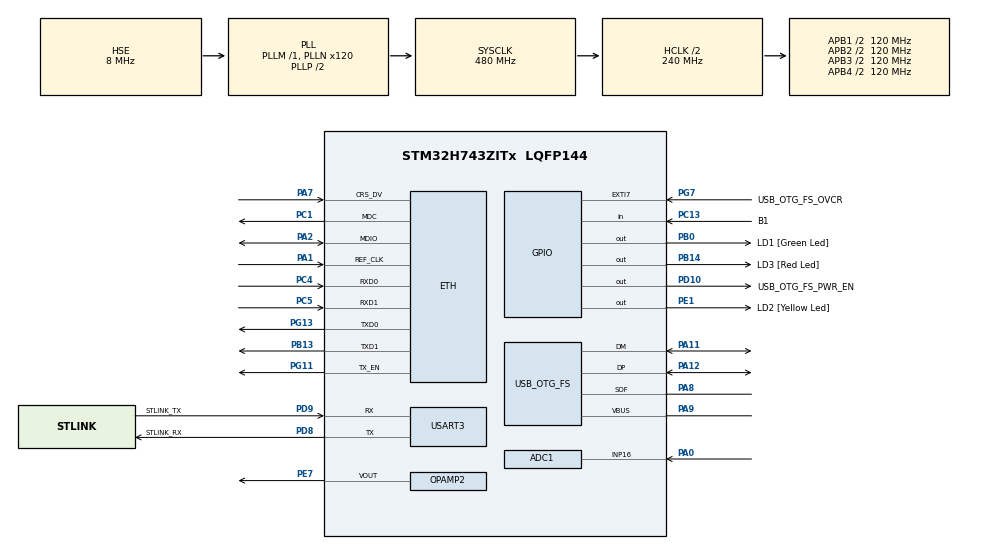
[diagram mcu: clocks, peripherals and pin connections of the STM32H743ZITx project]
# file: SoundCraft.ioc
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ADC1.Channel-1\#ChannelRegularConversion=ADC_CHANNEL_16
ADC1.ClockPrescaler=ADC_CLOCK_ASYNC_DIV2
ADC1.ConversionDataManagement=ADC_CONVERSIONDATA_DMA_CIRCULAR
ADC1.ExternalTrigConv=ADC_EXTERNALTRIG_T3_TRGO
ADC1.NbrOfConversionFlag=1
ADC1.OffsetNumber-1\#ChannelRegularConversion=ADC_OFFSET_NONE
ADC1.OffsetSignedSaturation-1\#ChannelRegularConversion=DISABLE
ADC1.Rank-1\#ChannelRegularConversion=1
ADC1.SamplingTime-1\#ChannelRegularConversion=ADC_SAMPLETIME_1CYCLE_5
ADC1.master=1
DAC1.DAC_Channel-DAC_OUT2_Int=DAC_CHANNEL_2
DAC1.DAC_Trigger-DAC_OUT2_Int=DAC_TRIGGER_NONE
Dma.ADC1.0.Direction=DMA_PERIPH_TO_MEMORY
Dma.ADC1.0.EventEnable=DISABLE
Dma.ADC1.0.FIFOMode=DMA_FIFOMODE_DISABLE
Dma.ADC1.0.Instance=DMA1_Stream1
Dma.ADC1.0.MemDataAlignment=DMA_MDATAALIGN_HALFWORD
Dma.ADC1.0.MemInc=DMA_MINC_ENABLE
Dma.ADC1.0.Mode=DMA_CIRCULAR
Dma.ADC1.0.PeriphDataAlignment=DMA_PDATAALIGN_HALFWORD
Dma.ADC1.0.PeriphInc=DMA_PINC_DISABLE
Dma.ADC1.0.Polarity=HAL_DMAMUX_REQ_GEN_RISING
Dma.ADC1.0.Priority=DMA_PRIORITY_LOW
Dma.ADC1.0.RequestNumber=1
Dma.ADC1.0.SignalID=NONE
Dma.ADC1.0.SyncEnable=DISABLE
Dma.ADC1.0.SyncPolarity=HAL_DMAMUX_SYNC_NO_EVENT
Dma.ADC1.0.SyncRequestNumber=1
Dma.ADC1.0.SyncSignalID=NONE
Dma.Request0=ADC1
ETH.MediaInterface=HAL_ETH_RMII_MODE
Mcu.Family=STM32H7
Mcu.Name=STM32H743ZITx
Mcu.Package=LQFP144
NVIC.ADC_IRQn=true\:0\:0\:false\:false\:true\:true\:true\:true
NVIC.DMA1_Stream1_IRQn=true\:0\:0\:false\:false\:true\:false\:true\:true
NVIC.PriorityGroup=NVIC_PRIORITYGROUP_4
OPAMP2.PowerMode=OPAMP_POWERMODE_HIGHSPEED
PA0.Mode=IN16-Single-Ended
PA0.Signal=ADC1_INP16
PA1.Mode=RMII
PA1.Signal=ETH_REF_CLK
PA11.Mode=Device_Only
PA11.Signal=USB_OTG_FS_DM
PA12.Mode=Device_Only
PA12.Signal=USB_OTG_FS_DP
PA2.Mode=RMII
PA2.Signal=ETH_MDIO
PA7.Mode=RMII
PA7.Signal=ETH_CRS_DV
PA8.Mode=Activate_SOF_FS
PA8.Signal=USB_OTG_FS_SOF
PA9.Mode=Activate_VBUS
PA9.Signal=USB_OTG_FS_VBUS
PB0.GPIO_Label=LD1 [Green Led]
PB0.Signal=GPIO_Output
PB13.Mode=RMII
PB13.Signal=ETH_TXD1
PB14.GPIO_Label=LD3 [Red Led]
PB14.Signal=GPIO_Output
PC1.Mode=RMII
PC1.Signal=ETH_MDC
PC13.GPIO_Label=B1
PC13.Signal=GPIO_Input
PC14-OSC32_IN\ (OSC32_IN).Mode=LSE-External-Oscillator
PC14-OSC32_IN\ (OSC32_IN).Signal=RCC_OSC32_IN
PC15-OSC32_OUT\ (OSC32_OUT).Mode=LSE-External-Oscillator
PC15-OSC32_OUT\ (OSC32_OUT).Signal=RCC_OSC32_OUT
PC4.Mode=RMII
PC4.Signal=ETH_RXD0
PC5.Mode=RMII
PC5.Signal=ETH_RXD1
PD10.GPIO_Label=USB_OTG_FS_PWR_EN
PD10.Signal=GPIO_Output
PD8.GPIO_Label=STLINK_RX
PD8.Mode=Asynchronous
PD8.Signal=USART3_TX
PD9.GPIO_Label=STLINK_TX
PD9.Mode=Asynchronous
PD9.Signal=USART3_RX
PE1.GPIO_Label=LD2 [Yellow Led]
PE1.Signal=GPIO_Output
PE7.Mode=Follower-DAC_OUT2-INP
PE7.Signal=OPAMP2_VOUT
PG11.Mode=RMII
PG11.Signal=ETH_TX_EN
PG13.Mode=RMII
PG13.Signal=ETH_TXD0
PG7.GPIO_Label=USB_OTG_FS_OVCR
PG7.Signal=GPXTI7
PH0-OSC_IN\ (PH0).Mode=HSE-External-Clock-Source
PH0-OSC_IN\ (PH0).Signal=RCC_OSC_IN
PH1-OSC_OUT\ (PH1).Signal=RCC_OSC_OUT
ProjectManager.HeapSize=0x200
ProjectManager.StackSize=0x400
ProjectManager.TargetToolchain=STM32CubeIDE
RCC.ADCFreq_Value=75000000
RCC.APB1Freq_Value=120000000
RCC.APB2Freq_Value=120000000
RCC.APB3Freq_Value=120000000
RCC.APB4Freq_Value=120000000
RCC.CortexFreq_Value=480000000
RCC.D1PPRE=RCC_APB3_DIV2
RCC.D2PPRE1=RCC_APB1_DIV2
RCC.D2PPRE2=RCC_APB2_DIV2
RCC.D3PPRE=RCC_APB4_DIV2
RCC.DIVM1=1
RCC.DIVM2=1
RCC.DIVN1=120
RCC.DIVN2=18
RCC.DIVQ1=15
RCC.HCLKFreq_Value=240000000
RCC.HPRE=RCC_HCLK_DIV2
RCC.HSE_VALUE=8000000
RCC.PLL2FRACN=6144
RCC.PLL3FRACN=0
RCC.PLLFRACN=0
RCC.PWR_Regulator_Voltage_Scale=PWR_REGULATOR_VOLTAGE_SCALE0
RCC.SYSCLKFreq_VALUE=480000000
RCC.SYSCLKSource=RCC_SYSCLKSOURCE_PLLCLK
RCC.USBFreq_Value=64000000
TIM3.Period=4999
TIM3.TIM_MasterOutputTrigger=TIM_TRGO_UPDATE
TIM6.Period=4999
TIM6.TIM_MasterOutputTrigger=TIM_TRGO_UPDATE
USART3.VirtualMode-Asynchronous=VM_ASYNC
USB_OTG_FS.VirtualMode=Device_Only
VP_DAC1_VS_DACI2.Mode=DAC_OUT2_Int
VP_TIM3_VS_ClockSourceINT.Mode=Internal
VP_TIM6_VS_ClockSourceINT.Mode=Enable_Timer
board=NUCLEO-H743ZI2

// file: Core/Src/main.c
/* USER CODE BEGIN Header */
/**
  ******************************************************************************
  * @file           : main.c
  * @brief          : Main program body
  ******************************************************************************
  * @attention
  *
  * Copyright (c) 2025 STMicroelectronics.
  * All rights reserved.
  *
  * This software is licensed under terms that can be found in the LICENSE file
  * in the root directory of this software component.
  * If no LICENSE file comes with this software, it is provided AS-IS.
  *
  ******************************************************************************
  */
/* USER CODE END Header */
#include "main.h"
#include "string.h"
#include <math.h>
#include <stdlib.h>

/* USER CODE BEGIN PD */
#define BUF_LEN 4096
/* USER CODE END PD */

#if defined ( __ICCARM__ ) /*!< IAR Compiler */
#pragma location=0x30000000
ETH_DMADescTypeDef  DMARxDscrTab[ETH_RX_DESC_CNT]; /* Ethernet Rx DMA Descriptors */
#pragma location=0x30000200
ETH_DMADescTypeDef  DMATxDscrTab[ETH_TX_DESC_CNT]; /* Ethernet Tx DMA Descriptors */

#elif defined ( __CC_ARM )  /* MDK ARM Compiler */

__attribute__((at(0x30000000))) ETH_DMADescTypeDef  DMARxDscrTab[ETH_RX_DESC_CNT]; /* Ethernet Rx DMA Descriptors */
__attribute__((at(0x30000200))) ETH_DMADescTypeDef  DMATxDscrTab[ETH_TX_DESC_CNT]; /* Ethernet Tx DMA Descriptors */

#elif defined ( __GNUC__ ) /* GNU Compiler */

ETH_DMADescTypeDef DMARxDscrTab[ETH_RX_DESC_CNT] __attribute__((section(".RxDecripSection"))); /* Ethernet Rx DMA Descriptors */
ETH_DMADescTypeDef DMATxDscrTab[ETH_TX_DESC_CNT] __attribute__((section(".TxDecripSection")));   /* Ethernet Tx DMA Descriptors */
#endif

ETH_TxPacketConfig TxConfig;

ADC_HandleTypeDef hadc1;
DMA_HandleTypeDef hdma_adc1;

DAC_HandleTypeDef hdac1;

ETH_HandleTypeDef heth;

OPAMP_HandleTypeDef hopamp2;

TIM_HandleTypeDef htim3;
TIM_HandleTypeDef htim6;

UART_HandleTypeDef huart3;

PCD_HandleTypeDef hpcd_USB_OTG_FS;

/* USER CODE BEGIN PV */
uint32_t dac_buf[BUF_LEN];
uint16_t adc_buf[BUF_LEN];

uint16_t adc_val;
uint32_t dac_val;
uint16_t fill_stat = 0;

uint16_t state = 0;
/* USER CODE END PV */

void SystemClock_Config(void);
static void MX_GPIO_Init(void);
static void MX_DMA_Init(void);
static void MX_USART3_UART_Init(void);
static void MX_USB_OTG_FS_PCD_Init(void);
static void MX_DAC1_Init(void);
static void MX_TIM6_Init(void);
static void MX_ETH_Init(void);
static void MX_OPAMP2_Init(void);
static void MX_ADC1_Init(void);
static void MX_TIM3_Init(void);

int main(void)
{

  /* MCU Configuration--------------------------------------------------------*/

  /* Reset of all peripherals, Initializes the Flash interface and the Systick. */
  HAL_Init();

  /* Configure the system clock */
  SystemClock_Config();

  /* Initialize all configured peripherals */
  MX_GPIO_Init();
  MX_DMA_Init();
  MX_USART3_UART_Init();
  MX_USB_OTG_FS_PCD_Init();
  MX_DAC1_Init();
  MX_TIM6_Init();
  MX_ETH_Init();
  MX_OPAMP2_Init();
  MX_ADC1_Init();
  MX_TIM3_Init();
  /* USER CODE BEGIN 2 */

  uint32_t signal_frequency = 480; // 440Hz
  uint32_t output_frequency = 48000; // 48KHz

  for (int i = 0; i < BUF_LEN; i++) {
	  dac_buf[i] = 2048 + 2047 * sin(2 * M_PI * signal_frequency / output_frequency * i);
  }

  HAL_OPAMP_Start(&hopamp2);
//  HAL_TIM_Base_Start(&htim6);
  HAL_DAC_Start(&hdac1, DAC_CHANNEL_2);
//  HAL_DAC_Start_DMA(&hdac1, DAC_CHANNEL_2, (uint32_t*)dac_buf, BUF_LEN, DAC_ALIGN_12B_R);
  HAL_TIM_Base_Start(&htim3);
//  HAL_ADC_Start_DMA(&hadc1, (uint32_t*)adc_buf, BUF_LEN);

  HAL_ADC_Start_DMA(&hadc1,(uint32_t*)&adc_val, 1);

  /* USER CODE END 2 */

  /* Infinite loop */
  while (1)
  {

  }
}

void SystemClock_Config(void)
{
  RCC_OscInitTypeDef RCC_OscInitStruct = {0};
  RCC_ClkInitTypeDef RCC_ClkInitStruct = {0};

  /** Supply configuration update enable
  */
  HAL_PWREx_ConfigSupply(PWR_LDO_SUPPLY);

  /** Configure the main internal regulator output voltage
  */
  __HAL_PWR_VOLTAGESCALING_CONFIG(PWR_REGULATOR_VOLTAGE_SCALE1);

  while(!__HAL_PWR_GET_FLAG(PWR_FLAG_VOSRDY)) {}

  __HAL_RCC_SYSCFG_CLK_ENABLE();
  __HAL_PWR_VOLTAGESCALING_CONFIG(PWR_REGULATOR_VOLTAGE_SCALE0);

  while(!__HAL_PWR_GET_FLAG(PWR_FLAG_VOSRDY)) {}

  /** Initializes the RCC Oscillators according to the specified parameters
  * in the RCC_OscInitTypeDef structure.
  */
  RCC_OscInitStruct.OscillatorType = RCC_OSCILLATORTYPE_HSE;
  RCC_OscInitStruct.HSEState = RCC_HSE_BYPASS;
  RCC_OscInitStruct.PLL.PLLState = RCC_PLL_ON;
  RCC_OscInitStruct.PLL.PLLSource = RCC_PLLSOURCE_HSE;
  RCC_OscInitStruct.PLL.PLLM = 1;
  RCC_OscInitStruct.PLL.PLLN = 120;
  RCC_OscInitStruct.PLL.PLLP = 2;
  RCC_OscInitStruct.PLL.PLLQ = 15;
  RCC_OscInitStruct.PLL.PLLR = 2;
  RCC_OscInitStruct.PLL.PLLRGE = RCC_PLL1VCIRANGE_3;
  RCC_OscInitStruct.PLL.PLLVCOSEL = RCC_PLL1VCOWIDE;
  RCC_OscInitStruct.PLL.PLLFRACN = 0;
  if (HAL_RCC_OscConfig(&RCC_OscInitStruct) != HAL_OK)
  {
    Error_Handler();
  }

  /** Initializes the CPU, AHB and APB buses clocks
  */
  RCC_ClkInitStruct.ClockType = RCC_CLOCKTYPE_HCLK|RCC_CLOCKTYPE_SYSCLK
                              |RCC_CLOCKTYPE_PCLK1|RCC_CLOCKTYPE_PCLK2
                              |RCC_CLOCKTYPE_D3PCLK1|RCC_CLOCKTYPE_D1PCLK1;
  RCC_ClkInitStruct.SYSCLKSource = RCC_SYSCLKSOURCE_PLLCLK;
  RCC_ClkInitStruct.SYSCLKDivider = RCC_SYSCLK_DIV1;
  RCC_ClkInitStruct.AHBCLKDivider = RCC_HCLK_DIV2;
  RCC_ClkInitStruct.APB3CLKDivider = RCC_APB3_DIV2;
  RCC_ClkInitStruct.APB1CLKDivider = RCC_APB1_DIV2;
  RCC_ClkInitStruct.APB2CLKDivider = RCC_APB2_DIV2;
  RCC_ClkInitStruct.APB4CLKDivider = RCC_APB4_DIV2;

  if (HAL_RCC_ClockConfig(&RCC_ClkInitStruct, FLASH_LATENCY_4) != HAL_OK)
  {
    Error_Handler();
  }
}

static void MX_ADC1_Init(void)
{

  ADC_MultiModeTypeDef multimode = {0};
  ADC_ChannelConfTypeDef sConfig = {0};

  /** Common config
  */
  hadc1.Instance = ADC1;
  hadc1.Init.ClockPrescaler = ADC_CLOCK_ASYNC_DIV2;
  hadc1.Init.Resolution = ADC_RESOLUTION_16B;
  hadc1.Init.ScanConvMode = ADC_SCAN_DISABLE;
  hadc1.Init.EOCSelection = ADC_EOC_SINGLE_CONV;
  hadc1.Init.LowPowerAutoWait = DISABLE;
  hadc1.Init.ContinuousConvMode = DISABLE;
  hadc1.Init.NbrOfConversion = 1;
  hadc1.Init.DiscontinuousConvMode = DISABLE;
  hadc1.Init.ExternalTrigConv = ADC_EXTERNALTRIG_T3_TRGO;
  hadc1.Init.ExternalTrigConvEdge = ADC_EXTERNALTRIGCONVEDGE_RISING;
  hadc1.Init.ConversionDataManagement = ADC_CONVERSIONDATA_DMA_CIRCULAR;
  hadc1.Init.Overrun = ADC_OVR_DATA_PRESERVED;
  hadc1.Init.LeftBitShift = ADC_LEFTBITSHIFT_NONE;
  hadc1.Init.OversamplingMode = DISABLE;
  if (HAL_ADC_Init(&hadc1) != HAL_OK)
  {
    Error_Handler();
  }

  /** Configure the ADC multi-mode
  */
  multimode.Mode = ADC_MODE_INDEPENDENT;
  if (HAL_ADCEx_MultiModeConfigChannel(&hadc1, &multimode) != HAL_OK)
  {
    Error_Handler();
  }

  /** Configure Regular Channel
  */
  sConfig.Channel = ADC_CHANNEL_16;
  sConfig.Rank = ADC_REGULAR_RANK_1;
  sConfig.SamplingTime = ADC_SAMPLETIME_1CYCLE_5;
  sConfig.SingleDiff = ADC_SINGLE_ENDED;
  sConfig.OffsetNumber = ADC_OFFSET_NONE;
  sConfig.Offset = 0;
  sConfig.OffsetSignedSaturation = DISABLE;
  if (HAL_ADC_ConfigChannel(&hadc1, &sConfig) != HAL_OK)
  {
    Error_Handler();
  }

}

static void MX_DAC1_Init(void)
{

  DAC_ChannelConfTypeDef sConfig = {0};

  /** DAC Initialization
  */
  hdac1.Instance = DAC1;
  if (HAL_DAC_Init(&hdac1) != HAL_OK)
  {
    Error_Handler();
  }

  /** DAC channel OUT2 config
  */
  sConfig.DAC_SampleAndHold = DAC_SAMPLEANDHOLD_DISABLE;
  sConfig.DAC_Trigger = DAC_TRIGGER_NONE;
  sConfig.DAC_OutputBuffer = DAC_OUTPUTBUFFER_DISABLE;
  sConfig.DAC_ConnectOnChipPeripheral = DAC_CHIPCONNECT_ENABLE;
  sConfig.DAC_UserTrimming = DAC_TRIMMING_FACTORY;
  if (HAL_DAC_ConfigChannel(&hdac1, &sConfig, DAC_CHANNEL_2) != HAL_OK)
  {
    Error_Handler();
  }

}

static void MX_ETH_Init(void)
{

   static uint8_t MACAddr[6];

  heth.Instance = ETH;
  MACAddr[0] = 0x00;
  MACAddr[1] = 0x80;
  MACAddr[2] = 0xE1;
  MACAddr[3] = 0x00;
  MACAddr[4] = 0x00;
  MACAddr[5] = 0x00;
  heth.Init.MACAddr = &MACAddr[0];
  heth.Init.MediaInterface = HAL_ETH_RMII_MODE;
  heth.Init.TxDesc = DMATxDscrTab;
  heth.Init.RxDesc = DMARxDscrTab;
  heth.Init.RxBuffLen = 1524;

  if (HAL_ETH_Init(&heth) != HAL_OK)
  {
    Error_Handler();
  }

  memset(&TxConfig, 0 , sizeof(ETH_TxPacketConfig));
  TxConfig.Attributes = ETH_TX_PACKETS_FEATURES_CSUM | ETH_TX_PACKETS_FEATURES_CRCPAD;
  TxConfig.ChecksumCtrl = ETH_CHECKSUM_IPHDR_PAYLOAD_INSERT_PHDR_CALC;
  TxConfig.CRCPadCtrl = ETH_CRC_PAD_INSERT;

}

static void MX_OPAMP2_Init(void)
{

  hopamp2.Instance = OPAMP2;
  hopamp2.Init.Mode = OPAMP_FOLLOWER_MODE;
  hopamp2.Init.NonInvertingInput = OPAMP_NONINVERTINGINPUT_DAC_CH;
  hopamp2.Init.PowerMode = OPAMP_POWERMODE_HIGHSPEED;
  hopamp2.Init.UserTrimming = OPAMP_TRIMMING_FACTORY;
  if (HAL_OPAMP_Init(&hopamp2) != HAL_OK)
  {
    Error_Handler();
  }

}

static void MX_TIM3_Init(void)
{

  TIM_ClockConfigTypeDef sClockSourceConfig = {0};
  TIM_MasterConfigTypeDef sMasterConfig = {0};

  htim3.Instance = TIM3;
  htim3.Init.Prescaler = 0;
  htim3.Init.CounterMode = TIM_COUNTERMODE_UP;
  htim3.Init.Period = 4999;
  htim3.Init.ClockDivision = TIM_CLOCKDIVISION_DIV1;
  htim3.Init.AutoReloadPreload = TIM_AUTORELOAD_PRELOAD_DISABLE;
  if (HAL_TIM_Base_Init(&htim3) != HAL_OK)
  {
    Error_Handler();
  }
  sClockSourceConfig.ClockSource = TIM_CLOCKSOURCE_INTERNAL;
  if (HAL_TIM_ConfigClockSource(&htim3, &sClockSourceConfig) != HAL_OK)
  {
    Error_Handler();
  }
  sMasterConfig.MasterOutputTrigger = TIM_TRGO_UPDATE;
  sMasterConfig.MasterSlaveMode = TIM_MASTERSLAVEMODE_DISABLE;
  if (HAL_TIMEx_MasterConfigSynchronization(&htim3, &sMasterConfig) != HAL_OK)
  {
    Error_Handler();
  }

}

static void MX_TIM6_Init(void)
{

  TIM_MasterConfigTypeDef sMasterConfig = {0};

  htim6.Instance = TIM6;
  htim6.Init.Prescaler = 0;
  htim6.Init.CounterMode = TIM_COUNTERMODE_UP;
  htim6.Init.Period = 4999;
  htim6.Init.AutoReloadPreload = TIM_AUTORELOAD_PRELOAD_DISABLE;
  if (HAL_TIM_Base_Init(&htim6) != HAL_OK)
  {
    Error_Handler();
  }
  sMasterConfig.MasterOutputTrigger = TIM_TRGO_UPDATE;
  sMasterConfig.MasterSlaveMode = TIM_MASTERSLAVEMODE_DISABLE;
  if (HAL_TIMEx_MasterConfigSynchronization(&htim6, &sMasterConfig) != HAL_OK)
  {
    Error_Handler();
  }

}

static void MX_USART3_UART_Init(void)
{

  huart3.Instance = USART3;
  huart3.Init.BaudRate = 115200;
  huart3.Init.WordLength = UART_WORDLENGTH_8B;
  huart3.Init.StopBits = UART_STOPBITS_1;
  huart3.Init.Parity = UART_PARITY_NONE;
  huart3.Init.Mode = UART_MODE_TX_RX;
  huart3.Init.HwFlowCtl = UART_HWCONTROL_NONE;
  huart3.Init.OverSampling = UART_OVERSAMPLING_16;
  huart3.Init.OneBitSampling = UART_ONE_BIT_SAMPLE_DISABLE;
  huart3.Init.ClockPrescaler = UART_PRESCALER_DIV1;
  huart3.AdvancedInit.AdvFeatureInit = UART_ADVFEATURE_NO_INIT;
  if (HAL_UART_Init(&huart3) != HAL_OK)
  {
    Error_Handler();
  }
  if (HAL_UARTEx_SetTxFifoThreshold(&huart3, UART_TXFIFO_THRESHOLD_1_8) != HAL_OK)
  {
    Error_Handler();
  }
  if (HAL_UARTEx_SetRxFifoThreshold(&huart3, UART_RXFIFO_THRESHOLD_1_8) != HAL_OK)
  {
    Error_Handler();
  }
  if (HAL_UARTEx_DisableFifoMode(&huart3) != HAL_OK)
  {
    Error_Handler();
  }

}

static void MX_USB_OTG_FS_PCD_Init(void)
{

  hpcd_USB_OTG_FS.Instance = USB_OTG_FS;
  hpcd_USB_OTG_FS.Init.dev_endpoints = 9;
  hpcd_USB_OTG_FS.Init.speed = PCD_SPEED_FULL;
  hpcd_USB_OTG_FS.Init.dma_enable = DISABLE;
  hpcd_USB_OTG_FS.Init.phy_itface = PCD_PHY_EMBEDDED;
  hpcd_USB_OTG_FS.Init.Sof_enable = ENABLE;
  hpcd_USB_OTG_FS.Init.low_power_enable = DISABLE;
  hpcd_USB_OTG_FS.Init.lpm_enable = DISABLE;
  hpcd_USB_OTG_FS.Init.battery_charging_enable = ENABLE;
  hpcd_USB_OTG_FS.Init.vbus_sensing_enable = ENABLE;
  hpcd_USB_OTG_FS.Init.use_dedicated_ep1 = DISABLE;
  if (HAL_PCD_Init(&hpcd_USB_OTG_FS) != HAL_OK)
  {
    Error_Handler();
  }

}

static void MX_DMA_Init(void)
{

  /* DMA controller clock enable */
  __HAL_RCC_DMA1_CLK_ENABLE();

  /* DMA interrupt init */
  /* DMA1_Stream1_IRQn interrupt configuration */
  HAL_NVIC_SetPriority(DMA1_Stream1_IRQn, 0, 0);
  HAL_NVIC_EnableIRQ(DMA1_Stream1_IRQn);

}

static void MX_GPIO_Init(void)
{
  GPIO_InitTypeDef GPIO_InitStruct = {0};

  /* GPIO Ports Clock Enable */
  __HAL_RCC_GPIOC_CLK_ENABLE();
  __HAL_RCC_GPIOH_CLK_ENABLE();
  __HAL_RCC_GPIOA_CLK_ENABLE();
  __HAL_RCC_GPIOB_CLK_ENABLE();
  __HAL_RCC_GPIOE_CLK_ENABLE();
  __HAL_RCC_GPIOD_CLK_ENABLE();
  __HAL_RCC_GPIOG_CLK_ENABLE();

  /*Configure GPIO pin Output Level */
  HAL_GPIO_WritePin(GPIOB, LD1_Pin|LD3_Pin, GPIO_PIN_RESET);

  /*Configure GPIO pin Output Level */
  HAL_GPIO_WritePin(USB_OTG_FS_PWR_EN_GPIO_Port, USB_OTG_FS_PWR_EN_Pin, GPIO_PIN_RESET);

  /*Configure GPIO pin Output Level */
  HAL_GPIO_WritePin(LD2_GPIO_Port, LD2_Pin, GPIO_PIN_RESET);

  /*Configure GPIO pin : B1_Pin */
  GPIO_InitStruct.Pin = B1_Pin;
  GPIO_InitStruct.Mode = GPIO_MODE_INPUT;
  GPIO_InitStruct.Pull = GPIO_NOPULL;
  HAL_GPIO_Init(B1_GPIO_Port, &GPIO_InitStruct);

  /*Configure GPIO pins : LD1_Pin LD3_Pin */
  GPIO_InitStruct.Pin = LD1_Pin|LD3_Pin;
  GPIO_InitStruct.Mode = GPIO_MODE_OUTPUT_PP;
  GPIO_InitStruct.Pull = GPIO_NOPULL;
  GPIO_InitStruct.Speed = GPIO_SPEED_FREQ_LOW;
  HAL_GPIO_Init(GPIOB, &GPIO_InitStruct);

  /*Configure GPIO pin : USB_OTG_FS_PWR_EN_Pin */
  GPIO_InitStruct.Pin = USB_OTG_FS_PWR_EN_Pin;
  GPIO_InitStruct.Mode = GPIO_MODE_OUTPUT_PP;
  GPIO_InitStruct.Pull = GPIO_NOPULL;
  GPIO_InitStruct.Speed = GPIO_SPEED_FREQ_LOW;
  HAL_GPIO_Init(USB_OTG_FS_PWR_EN_GPIO_Port, &GPIO_InitStruct);

  /*Configure GPIO pin : USB_OTG_FS_OVCR_Pin */
  GPIO_InitStruct.Pin = USB_OTG_FS_OVCR_Pin;
  GPIO_InitStruct.Mode = GPIO_MODE_IT_RISING;
  GPIO_InitStruct.Pull = GPIO_NOPULL;
  HAL_GPIO_Init(USB_OTG_FS_OVCR_GPIO_Port, &GPIO_InitStruct);

  /*Configure GPIO pin : LD2_Pin */
  GPIO_InitStruct.Pin = LD2_Pin;
  GPIO_InitStruct.Mode = GPIO_MODE_OUTPUT_PP;
  GPIO_InitStruct.Pull = GPIO_NOPULL;
  GPIO_InitStruct.Speed = GPIO_SPEED_FREQ_LOW;
  HAL_GPIO_Init(LD2_GPIO_Port, &GPIO_InitStruct);

}

/* USER CODE BEGIN 4 */

#define ADC_MAX 65535
#define DAC_MAX 4096
#define SAMPLE_RATE 48000

#define BUFFER_SIZE 1000

int t_count = 0; // for tremolo

uint16_t buffer[BUFFER_SIZE] = {0};
int read_pointer = 0, write_pointer = 0, opp_pointer;
float float_read_pointer = 0.0;
float pitch_factor = 1.2;

#define MAX_DELAY_SAMPLES SAMPLE_RATE  // Maximum delay (1-second delay)
int16_t delay_buffer[MAX_DELAY_SAMPLES] = {0};  // Static delay buffer to avoid dynamic allocation
uint32_t delay_index = 0;
float echo_factor = 0.3;

// Function to apply distortion to the audio samples
void distort(uint16_t *input, uint32_t bound) {

    if (*input > (ADC_MAX/2 + bound)) {
        *input = ADC_MAX/2 + bound;
    } else if (*input < (ADC_MAX/2 - bound)) {
        *input = ADC_MAX/2 - bound;
    }

}

// Function to apply tremolo effect
void tremolo(uint16_t *input, int index, float depth, float mod_freq) {

    *input *= ((1-depth) + depth * sin(2 * M_PI * mod_freq * index / SAMPLE_RATE));

}

// Function to apply pitch shifting
void pitch_shift(uint16_t *input, float pitch_factor) {

	buffer[write_pointer] = *input;
	write_pointer = (write_pointer + 1) % BUFFER_SIZE;

    float_read_pointer += pitch_factor;
    if (float_read_pointer > BUFFER_SIZE) {
        float_read_pointer -= BUFFER_SIZE;
    }

    read_pointer = ((int)float_read_pointer) % BUFFER_SIZE;
    opp_pointer = (read_pointer + (BUFFER_SIZE / 2)) % BUFFER_SIZE;

    if (abs(read_pointer - write_pointer) < pitch_factor) {
        read_pointer = opp_pointer;
        float_read_pointer = (float)opp_pointer;
    }

    *input = buffer[read_pointer];

}

// Function to apply an echo effect without dynamic allocation or double casting
void echo(uint16_t *input, float feedback) {

	// Multiply the previous delayed sample by the feedback factor in fixed-point (Q15 format)
	int16_t delayed_sample = (delay_buffer[delay_index] / 2);

	*input = *input;

	// Store the current input sample into the delay buffer
	delay_buffer[delay_index] = *input;

	// Add the delayed sample to the current input, with feedback
	*input += delayed_sample;

	// Update the delay buffer index (circular buffer)
	delay_index = (delay_index + 1) % SAMPLE_RATE;  // Wrap around every 1 second (SAMPLE_RATE samples)
}

// Called when buffer is completely filled
void HAL_ADC_ConvCpltCallback(ADC_HandleTypeDef* hadc) {

//	if (HAL_GPIO_ReadPin(B1_GPIO_Port, B1_Pin)) {
//		state = 1;
//	}
//
//	else {
//		state = 0;
//	}

    if (state == 1)
    {
        distort(&adc_val, 0.15*ADC_MAX); // [0, 0.5*ADC_MAX] larger bound means less distortion
    }

    else if (state == 2)
    {
        tremolo(&adc_val, t_count, 0.5, 5); // [0, 1] depth, [0, 10] mod_freq
        t_count++;
    }

    // Apply pitch shifting if enabled
    else if (state == 3)
    {
        pitch_shift(&adc_val, pitch_factor);
    }

    // echo
    else if (state == 4)
    {
    	echo(&adc_val, echo_factor);
    }

    dac_val = (adc_val * DAC_MAX) / ADC_MAX;
    HAL_DAC_SetValue(&hdac1, DAC_CHANNEL_2, DAC_ALIGN_12B_R, dac_val);
    fill_stat = 2;

}
/* USER CODE END 4 */

void Error_Handler(void)
{
  __disable_irq();
  while (1)
  {
  }
}
